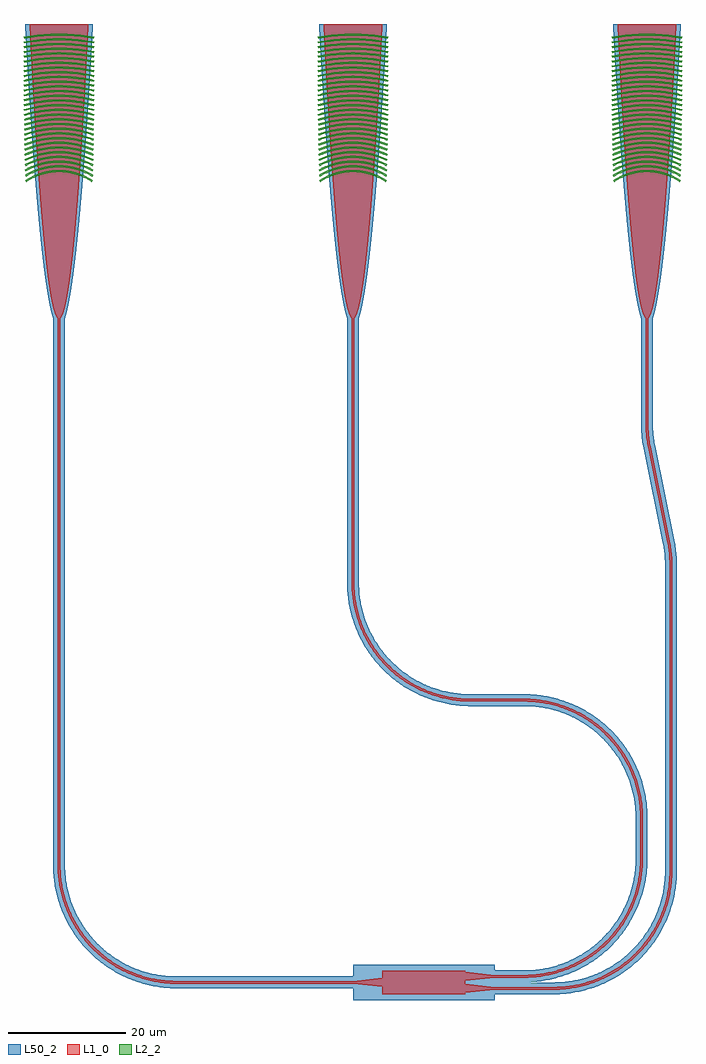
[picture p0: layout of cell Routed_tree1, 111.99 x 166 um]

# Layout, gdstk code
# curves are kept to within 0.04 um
from math import pi, radians
import gdstk
lib = gdstk.Library(unit=1e-6, precision=1e-09)
def R(c, l, rs):  # rectangles x0, y0, x1, y1
    for r in rs: c.add(gdstk.rectangle(r[:2], r[2:], *l))
def P(c, l, *ps):  # polygons
    for p in ps: c.add(gdstk.Polygon(p, *l))
L1_0 = (1, 0)
L2_2 = (2, 2)
L50_2 = (50, 2)

mmi_1x2_optimized = lib.new_cell('MMI_1X2_OPTIMIZED')
R(mmi_1x2_optimized, L1_0, [(0,-2,14.078,2)])
P(mmi_1x2_optimized, L1_0, [(-5,-0.225),(-5,0.225),(0,0.75),(0,-0.75)],
  [(14.078,0.274),(14.078,1.774),(19.078,1.249),(19.078,0.799)],
  [(14.078,-1.774),(14.078,-0.274),(19.078,-0.799),(19.078,-1.249)])
R(mmi_1x2_optimized, L50_2, [(-5,-3,19.078,3)])

sp1 = lib.new_cell('SP1')
sp1.add(gdstk.Reference(mmi_1x2_optimized, (0,0)))

fc_te_1550_grating = lib.new_cell('FC_TE_1550_grating')
P(fc_te_1550_grating, L2_2, [(1.879,5.557),(1.112,4.222),(0.612,2.949),(0.294,1.618),(0.163,0.257),(0.205,-0.94),(0.43,-2.289),(0.665,-3.112),(0.97,-3.911),(1.344,-4.68),(1.879,-5.557),(1.614,-5.736),(0.823,-4.359),(0.255,-2.876),(-0.074,-1.321),(-0.157,0.265),(-0.095,1.146),(0.043,2.018),(0.255,2.876),(0.542,3.711),(0.98,4.676),(1.614,5.736)],
  [(0.961,5.613),(0.27,4.306),(-0.18,3.095),(-0.48,1.838),(-0.634,0.369),(-0.6,-0.922),(-0.41,-2.201),(-0.18,-3.095),(0.127,-3.966),(0.508,-4.807),(0.961,-5.613),(0.688,-5.779),(-0.022,-4.436),(-0.54,-3.005),(-0.761,-2.08),(-0.879,-1.329),(-0.958,0.19),(-0.901,1.14),(-0.761,2.08),(-0.54,3.005),(-0.306,3.73),(0.138,4.781),(0.688,5.779)],
  [(0.057,5.658),(-0.627,4.236),(-1.06,2.926),(-1.331,1.573),(-1.438,0.197),(-1.357,-1.377),(-1.06,-2.926),(-0.627,-4.236),(0.057,-5.658),(-0.222,-5.814),(-0.924,-4.354),(-1.369,-3.008),(-1.674,-1.416),(-1.758,0.203),(-1.697,1.214),(-1.586,2.018),(-1.369,3.008),(-1.135,3.784),(-0.767,4.729),(-0.222,5.814)],
  [(-0.834,5.695),(-1.443,4.345),(-1.831,3.137),(-2.123,1.687),(-2.233,0.423),(-2.174,-1.267),(-1.932,-2.727),(-1.443,-4.345),(-0.834,-5.695),(-1.119,-5.842),(-1.742,-4.459),(-2.244,-2.798),(-2.493,-1.3),(-2.553,0.434),(-2.373,2.16),(-1.957,3.844),(-1.581,4.862),(-1.119,5.842)],
  [(-1.715,5.726),(-2.242,4.491),(-2.639,3.21),(-2.902,1.894),(-3.036,0.335),(-2.982,-1.228),(-2.741,-2.775),(-2.317,-4.281),(-1.715,-5.726),(-2.004,-5.865),(-2.62,-4.386),(-3.054,-2.843),(-3.301,-1.259),(-3.356,0.344),(-3.301,1.259),(-3.183,2.167),(-2.763,3.95),(-2.462,4.816),(-2.004,5.865)],
  [(-2.588,5.753),(-3.112,4.429),(-3.498,3.059),(-3.74,1.657),(-3.838,0.237),(-3.767,-1.421),(-3.548,-2.827),(-3.112,-4.429),(-2.588,-5.753),(-2.88,-5.883),(-3.491,-4.3),(-3.909,-2.654),(-4.127,-0.97),(-4.152,0.485),(-3.992,2.176),(-3.81,3.13),(-3.563,4.068),(-3.252,4.988),(-2.88,5.883)],
  [(-3.453,5.775),(-3.901,4.593),(-4.301,3.133),(-4.518,1.889),(-4.635,0.379),(-4.596,-1.135),(-4.353,-2.885),(-3.978,-4.353),(-3.453,-5.775),(-3.748,-5.899),(-4.283,-4.448),(-4.667,-2.948),(-4.893,-1.417),(-4.955,0.387),(-4.799,2.186),(-4.428,3.953),(-4.121,4.938),(-3.748,5.899)],
  [(-4.311,5.794),(-4.83,4.297),(-5.143,3.016),(-5.345,1.712),(-5.435,0.396),(-5.394,-1.187),(-5.192,-2.756),(-4.83,-4.297),(-4.311,-5.794),(-4.609,-5.912),(-5.137,-4.386),(-5.507,-2.814),(-5.713,-1.211),(-5.755,0.404),(-5.594,2.282),(-5.21,4.127),(-4.609,5.912)],
  [(-5.165,5.811),(-5.613,4.468),(-5.943,3.093),(-6.151,1.694),(-6.238,0.283),(-6.201,-1.131),(-5.994,-2.815),(-5.689,-4.196),(-5.165,-5.811),(-5.465,-5.923),(-5.998,-4.278),(-6.357,-2.586),(-6.52,-1.153),(-6.55,0.577),(-6.357,2.586),(-5.998,4.278),(-5.465,5.923)],
  [(-6.013,5.826),(-6.381,4.694),(-6.727,3.249),(-6.947,1.78),(-7.03,0.594),(-6.999,-1.188),(-6.83,-2.664),(-6.46,-4.407),(-6.013,-5.826),(-6.315,-5.932),(-6.845,-4.197),(-7.147,-2.714),(-7.318,-1.21),(-7.357,0.303),(-7.231,2.114),(-7.097,3.013),(-6.845,4.197),(-6.315,5.932)],
  [(-6.858,5.838),(-7.295,4.377),(-7.553,3.185),(-7.73,1.978),(-7.834,0.457),(-7.808,-1.067),(-7.652,-2.583),(-7.295,-4.377),(-6.858,-5.838),(-7.161,-5.941),(-7.679,-4.154),(-7.969,-2.629),(-8.128,-1.086),(-8.154,0.466),(-8.011,2.322),(-7.679,4.154),(-7.161,5.941)],
  [(-7.698,5.85),(-8.06,4.614),(-8.335,3.358),(-8.523,2.086),(-8.634,0.482),(-8.606,-1.125),(-8.44,-2.724),(-8.137,-4.302),(-7.698,-5.85),(-8.003,-5.948),(-8.448,-4.376),(-8.757,-2.77),(-8.925,-1.144),(-8.954,0.491),(-8.802,2.446),(-8.448,4.376),(-8.003,5.948)],
  [(-8.536,5.86),(-8.892,4.585),(-9.16,3.29),(-9.339,1.98),(-9.429,0.661),(-9.415,-0.991),(-9.26,-2.637),(-8.967,-4.263),(-8.536,-5.86),(-8.842,-5.954),(-9.279,-4.333),(-9.577,-2.68),(-9.734,-1.008),(-9.749,0.672),(-9.577,2.68),(-9.203,4.66),(-8.842,5.954)],
  [(-9.37,5.869),(-9.649,4.855),(-9.938,3.484),(-10.131,2.097),(-10.228,0.7),(-10.213,-1.05),(-10.092,-2.445),(-9.805,-4.172),(-9.37,-5.869),(-9.678,-5.959),(-10.042,-4.585),(-10.363,-2.837),(-10.532,-1.067),(-10.548,0.711),(-10.363,2.837),(-10.042,4.585),(-9.678,5.959)],
  [(-10.203,5.877),(-10.558,4.477),(-10.817,3.057),(-10.977,1.622),(-11.033,0.541),(-11.021,-0.902),(-10.866,-2.699),(-10.632,-4.123),(-10.203,-5.877),(-10.511,-5.964),(-10.946,-4.186),(-11.184,-2.74),(-11.322,-1.282),(-11.353,0.55),(-11.184,2.74),(-10.871,4.545),(-10.511,5.964)],
  [(-11.032,5.884),(-11.385,4.436),(-11.584,3.337),(-11.761,1.859),(-11.837,0.372),(-11.811,-1.116),(-11.685,-2.6),(-11.385,-4.436),(-11.032,-5.884),(-11.341,-5.968),(-11.698,-4.501),(-11.954,-3.012),(-12.109,-1.51),(-12.157,0.378),(-12.044,2.262),(-11.698,4.501),(-11.341,5.968)],
  [(-11.86,5.891),(-12.21,4.392),(-12.405,3.256),(-12.574,1.728),(-12.633,0.577),(-12.62,-0.961),(-12.457,-2.875),(-12.21,-4.392),(-11.86,-5.891),(-12.17,-5.971),(-12.524,-4.454),(-12.774,-2.916),(-12.939,-0.974),(-12.953,0.585),(-12.82,2.529),(-12.524,4.454),(-12.17,5.971)],
  [(-12.686,5.897),(-13.168,3.562),(-13.319,2.38),(-13.427,0.794),(-13.427,-0.794),(-13.319,-2.38),(-13.034,-4.345),(-12.686,-5.897),(-12.997,-5.974),(-13.348,-4.404),(-13.593,-2.812),(-13.729,-1.208),(-13.757,0.403),(-13.637,2.412),(-13.348,4.404),(-12.997,5.974)],
  [(-13.51,5.902),(-13.989,3.482),(-14.135,2.258),(-14.232,0.617),(-14.218,-1.027),(-14.093,-2.667),(-13.857,-4.294),(-13.51,-5.902),(-13.822,-5.977),(-14.172,-4.35),(-14.411,-2.702),(-14.538,-1.041),(-14.552,0.625),(-14.411,2.702),(-14.094,4.76),(-13.822,5.977)],
  [(-14.333,5.907),(-14.603,4.657),(-14.809,3.396),(-14.95,2.127),(-15.026,0.852),(-15.026,-0.852),(-14.91,-2.551),(-14.679,-4.238),(-14.333,-5.907),(-14.645,-5.98),(-14.994,-4.292),(-15.228,-2.583),(-15.345,-0.862),(-15.345,0.862),(-15.181,3.012),(-14.834,5.14),(-14.645,5.98)],
  [(-15.155,5.912),(-15.425,4.613),(-15.628,3.304),(-15.764,1.986),(-15.832,0.662),(-15.816,-1.104),(-15.681,-2.865),(-15.425,-4.613),(-15.155,-5.912),(-15.467,-5.982),(-15.816,-4.23),(-15.999,-2.901),(-16.136,-1.118),(-16.151,0.671),(-15.999,2.901),(-15.74,4.67),(-15.467,5.982)],
  [(-15.975,5.916),(-16.388,3.659),(-16.541,2.291),(-16.624,0.917),(-16.624,-0.917),(-16.498,-2.748),(-16.321,-4.113),(-15.975,-5.916),(-16.287,-5.984),(-16.637,-4.162),(-16.86,-2.319),(-16.944,-0.928),(-16.944,0.928),(-16.816,2.781),(-16.478,5.077),(-16.287,5.984)],
  [(-16.794,5.92),(-17.207,3.569),(-17.356,2.145),(-17.431,0.716),(-17.431,-0.716),(-17.315,-2.621),(-17.141,-4.042),(-16.794,-5.92),(-17.107,-5.986),(-17.382,-4.566),(-17.633,-2.651),(-17.751,-0.724),(-17.751,0.724),(-17.583,3.131),(-17.298,5.041),(-17.107,5.986)],
  [(-17.612,5.923),(-17.877,4.515),(-18.07,3.096),(-18.231,0.716),(-18.215,-1.193),(-18.118,-2.621),(-17.877,-4.515),(-17.612,-5.923),(-17.925,-5.988),(-18.193,-4.566),(-18.437,-2.651),(-18.535,-1.206),(-18.551,0.724),(-18.437,2.651),(-18.111,5.042),(-17.925,5.988)],
  [(-18.429,5.927),(-18.832,3.472),(-19.023,0.994),(-19.036,-0.497),(-18.934,-2.483),(-18.696,-4.458),(-18.429,-5.927),(-18.743,-5.989),(-19.085,-4.009),(-19.252,-2.511),(-19.356,-0.503),(-19.343,1.005),(-19.205,3.011),(-18.841,5.497),(-18.743,5.989)],
  [(-19.245,5.93),(-19.65,3.366),(-19.83,0.778),(-19.812,-1.297),(-19.704,-2.85),(-19.515,-4.395),(-19.245,-5.93),(-19.559,-5.991),(-19.904,-3.923),(-20.068,-2.358),(-20.15,-0.787),(-20.15,0.787),(-19.968,3.402),(-19.659,5.477),(-19.559,5.991)],
  [(-20.06,5.932),(-20.454,3.367),(-20.63,0.778),(-20.613,-1.297),(-20.507,-2.851),(-20.323,-4.397),(-20.06,-5.932),(-20.375,-5.992),(-20.64,-4.442),(-20.826,-2.88),(-20.95,-0.787),(-20.95,0.787),(-20.773,3.402),(-20.472,5.478),(-20.375,5.992)],
  [(-20.875,5.935),(-21.272,3.25),(-21.421,1.085),(-21.435,-0.543),(-21.323,-2.71),(-21.141,-4.328),(-20.875,-5.935),(-21.189,-5.993),(-21.458,-4.372),(-21.642,-2.738),(-21.741,-1.096),(-21.741,1.096),(-21.59,3.283),(-21.288,5.455),(-21.189,5.993)],
  [(-21.689,5.938),(-22.076,3.251),(-22.222,1.085),(-22.222,-1.085),(-22.126,-2.711),(-21.948,-4.329),(-21.689,-5.938),(-22.004,-5.994),(-22.265,-4.372),(-22.445,-2.738),(-22.542,-1.096),(-22.542,1.096),(-22.394,3.283),(-22.1,5.456),(-22.004,5.994)],
  [(-22.502,5.94),(-22.892,3.123),(-23.029,0.853),(-23.029,-0.853),(-22.941,-2.556),(-22.765,-4.253),(-22.502,-5.94),(-22.817,-5.995),(-23.082,-4.294),(-23.26,-2.581),(-23.349,-0.861),(-23.349,0.861),(-23.211,3.153),(-22.915,5.43),(-22.817,5.995)])

fc_te_1550_socket = lib.new_cell('FC_TE_1550_socket')
P(fc_te_1550_socket, L1_0, [(25,0.225),(25,-0.225),(24.705,-0.445),(23.929,-0.765),(22.786,-1.075),(19.069,-1.735),(13.702,-2.385),(6.642,-3.035),(-2.112,-3.685),(-12.733,-4.345),(-25,-5),(-25,5),(-13.785,4.405),(-3.913,3.805),(4.516,3.205),(11.502,2.605),(16.965,2.015),(21.089,1.415),(22.699,1.095),(23.803,0.805),(24.57,0.515)])
P(fc_te_1550_socket, L50_2, [(25,1),(25,-1),(23.729,-1.35),(22.079,-1.7),(17.791,-2.38),(10.221,-3.25),(0.565,-4.1),(-11.019,-4.93),(-25,-5.775),(-25,5.775),(-5.733,4.57),(1.817,4),(8.784,3.39),(14.515,2.79),(19.133,2.19),(22.589,1.6)])

fc_te_1550 = lib.new_cell('FC_TE_1550')
fc_te_1550.add(gdstk.Reference(fc_te_1550_grating, (0,0)))
fc_te_1550.add(gdstk.Reference(fc_te_1550_socket, (0,0)))

routed_tree1_connector0 = lib.new_cell('Routed_tree1_connector0')
P(routed_tree1_connector0, L1_0, [(-55.225,113),(-55.222,19.651),(-55.078,17.562),(-54.793,15.841),(-54.257,13.817),(-53.514,11.859),(-52.398,9.687),(-51.028,7.665),(-49.667,6.074),(-47.881,4.407),(-46.2,3.159),(-44.089,1.932),(-42.172,1.089),(-39.84,0.363),(-37.438,-0.078),(-35.349,-0.222),(-5,-0.225),(-5,0.225),(-35.683,0.237),(-37.722,0.413),(-40.063,0.884),(-42.012,1.51),(-44.19,2.49),(-45.951,3.534),(-47.856,4.974),(-49.573,6.633),(-50.877,8.211),(-52.011,9.916),(-53.102,12.04),(-53.828,13.954),(-54.352,15.933),(-54.631,17.616),(-54.772,19.659),(-54.775,113)])
P(routed_tree1_connector0, L50_2, [(-56,113),(-55.997,19.638),(-55.847,17.469),(-55.474,15.327),(-54.881,13.235),(-54.224,11.547),(-53.065,9.291),(-51.861,7.481),(-50.229,5.54),(-48.375,3.81),(-46.326,2.316),(-44.437,1.24),(-42.107,0.239),(-40.026,-0.39),(-37.531,-0.847),(-35.362,-0.997),(-5,-1),(-5,1),(-35.328,1.003),(-36.638,1.071),(-37.94,1.229),(-40.181,1.72),(-42.347,2.478),(-44.119,3.331),(-45.793,4.363),(-47.599,5.778),(-49.002,7.157),(-50.255,8.674),(-51.344,10.311),(-52.393,12.352),(-53.09,14.191),(-53.524,15.772),(-53.861,17.71),(-53.997,19.672),(-54,113)])

routed_tree1_connector1 = lib.new_cell('Routed_tree1_connector1')
P(routed_tree1_connector1, L1_0, [(-5.225,113),(-5.198,66.953),(-5.078,65.562),(-4.862,64.183),(-4.257,61.817),(-3.371,59.541),(-2.217,57.388),(-1.238,55.943),(-0.139,54.588),(1.074,53.333),(2.39,52.187),(3.8,51.159),(5.293,50.257),(6.859,49.486),(8.485,48.853),(9.822,48.449),(11.183,48.138),(13.605,47.823),(14.999,47.775),(24.419,47.772),(26.8,47.587),(28.478,47.279),(30.124,46.828),(31.724,46.237),(33.268,45.51),(35.029,44.466),(36.673,43.246),(37.94,42.103),(39.324,40.595),(40.544,38.951),(41.427,37.491),(42.315,35.646),(42.906,34.046),(43.498,31.732),(43.709,30.384),(43.826,29.024),(43.85,20.679),(43.706,18.614),(43.266,16.24),(42.54,13.937),(42,12.667),(41.374,11.437),(40.076,9.401),(39.227,8.313),(38.303,7.287),(37.31,6.328),(36.253,5.441),(34.848,4.439),(33.665,3.728),(32.435,3.102),(31.165,2.562),(28.862,1.836),(27.512,1.549),(26.145,1.357),(24.423,1.252),(19.078,1.249),(19.078,0.799),(25.136,0.827),(27.59,1.106),(28.971,1.4),(30.328,1.789),(32.625,2.694),(34.495,3.688),(36.25,4.872),(37.871,6.232),(39.342,7.755),(40.845,9.714),(41.936,11.529),(42.83,13.448),(43.419,15.111),(43.861,16.819),(44.152,18.559),(44.3,20.671),(44.303,28.001),(44.255,29.395),(43.94,31.817),(43.335,34.183),(42.73,35.82),(41.821,37.707),(40.919,39.2),(39.671,40.881),(38.255,42.424),(36.688,43.813),(35.278,44.841),(33.477,45.908),(31.898,46.652),(30.261,47.257),(28.578,47.718),(26.862,48.032),(24.427,48.222),(15.001,48.225),(13.636,48.272),(11.268,48.58),(9.937,48.884),(8.63,49.279),(7.04,49.898),(5.509,50.651),(4.049,51.534),(2.67,52.539),(1.384,53.66),(0.198,54.887),(-0.877,56.211),(-1.834,57.624),(-2.962,59.729),(-3.828,61.954),(-4.42,64.268),(-4.728,66.636),(-4.775,68.001),(-4.775,113)])
P(routed_tree1_connector1, L50_2, [(-6,113),(-5.972,66.913),(-5.847,65.469),(-5.623,64.037),(-4.995,61.58),(-4.075,59.216),(-2.877,56.981),(-1.861,55.481),(-0.719,54.074),(0.54,52.771),(1.907,51.582),(3.371,50.514),(4.921,49.577),(6.547,48.776),(8.235,48.119),(9.623,47.7),(11.037,47.377),(13.551,47.05),(14.996,47),(24.406,46.997),(26.693,46.819),(28.306,46.524),(29.887,46.09),(31.425,45.522),(32.908,44.824),(34.6,43.821),(35.924,42.855),(37.161,41.778),(38.515,40.352),(39.715,38.793),(40.747,37.119),(41.471,35.648),(42.168,33.809),(42.526,32.547),(42.796,31.263),(43.052,28.983),(43.078,21.028),(42.974,19.038),(42.789,17.725),(42.514,16.427),(41.816,14.215),(41.298,12.994),(40.696,11.813),(39.449,9.856),(38.633,8.811),(37.745,7.826),(36.791,6.904),(35.776,6.052),(34.703,5.272),(33.289,4.406),(32.108,3.804),(30.887,3.286),(28.675,2.588),(27.377,2.313),(26.064,2.128),(24.41,2.027),(19.078,2.024),(19.078,0.024),(24.445,0.027),(25.908,0.104),(28.444,0.483),(30.567,1.052),(32.953,1.992),(34.894,3.023),(36.716,4.253),(38.4,5.666),(40.165,7.525),(41.488,9.281),(42.62,11.165),(43.549,13.157),(44.16,14.884),(44.619,16.658),(44.922,18.465),(45.075,20.657),(45.078,28.004),(45.028,29.449),(44.701,31.963),(44.073,34.42),(43.302,36.453),(42.501,38.079),(41.361,39.929),(40.268,41.375),(39.055,42.721),(37.453,44.19),(35.707,45.486),(33.837,46.595),(32.198,47.367),(30.498,47.995),(28.751,48.474),(26.969,48.8),(24.44,48.997),(13.689,49.045),(11.414,49.342),(9.191,49.91),(7.653,50.478),(6.17,51.176),(4.753,52),(3.412,52.943),(2.157,53.998),(0.998,55.157),(-0.057,56.412),(-1,57.753),(-2.118,59.756),(-2.987,61.88),(-3.594,64.092),(-3.929,66.362),(-4,68.004),(-4,113)])

routed_tree1_connector2_ = lib.new_cell('Routed_tree1_connector2_segment_0')
P(routed_tree1_connector2_, L1_0, [(44.775,113),(44.775,95.017),(44.82,93.663),(45.118,91.31),(48.454,74.934),(48.717,73.297),(48.853,70.981),(48.853,53),(49.303,53),(49.303,70.983),(49.258,72.337),(48.96,74.69),(45.624,91.066),(45.361,92.703),(45.225,95.019),(45.225,113)])
P(routed_tree1_connector2_, L50_2, [(44,113),(44,95.014),(44.047,93.611),(44.356,91.168),(47.694,74.782),(47.982,72.889),(48.078,70.978),(48.078,53),(50.078,53),(50.078,70.986),(50.031,72.389),(49.722,74.832),(46.384,91.218),(46.096,93.111),(46,95.022),(46,113)])

c_routed_tree1_connector2_ = lib.new_cell('Routed_tree1_connector2_segment_1')
P(c_routed_tree1_connector2_, L1_0, [(48.853,53),(48.826,17.941),(48.553,15.542),(48.087,13.525),(47.281,11.249),(46.374,9.389),(45.472,7.918),(44.446,6.531),(43.303,5.239),(42.052,4.052),(40.701,2.978),(39.263,2.026),(37.747,1.202),(36.165,0.514),(33.862,-0.212),(32.512,-0.499),(31.145,-0.691),(29.423,-0.796),(19.078,-0.799),(19.078,-1.249),(29.079,-1.249),(30.489,-1.2),(32.242,-1),(33.628,-0.731),(34.991,-0.365),(36.326,0.094),(37.944,0.798),(39.495,1.64),(40.966,2.614),(42.347,3.712),(43.627,4.927),(44.796,6.248),(45.845,7.666),(46.767,9.171),(47.695,11.073),(48.52,13.401),(48.996,15.464),(49.275,17.918),(49.303,53)])
P(c_routed_tree1_connector2_, L50_2, [(48.078,53),(48.052,17.982),(47.844,16.004),(47.431,14.058),(46.816,12.167),(45.854,10.056),(45.013,8.628),(44.05,7.278),(42.974,6.018),(42.036,5.08),(41.035,4.21),(39.703,3.224),(38.289,2.358),(36.806,1.619),(35.264,1.011),(33.996,0.623),(32.377,0.265),(30.734,0.048),(29.074,-0.024),(19.078,-0.024),(19.078,-2.024),(29.082,-2.024),(30.908,-1.944),(32.363,-1.765),(33.802,-1.486),(35.218,-1.106),(36.604,-0.629),(38.284,0.101),(39.894,0.975),(41.422,1.987),(43.13,3.37),(44.436,4.654),(45.626,6.047),(46.69,7.539),(47.62,9.117),(48.683,11.45),(49.454,13.896),(49.922,16.417),(50.075,18.609),(50.078,53)])

routed_tree1_connector2 = lib.new_cell('Routed_tree1_connector2')
routed_tree1_connector2.add(gdstk.Reference(routed_tree1_connector2_, (0,0)))
routed_tree1_connector2.add(gdstk.Reference(c_routed_tree1_connector2_, (0,0)))

routed_tree1 = lib.new_cell('Routed_tree1')
routed_tree1.add(gdstk.Reference(sp1, (0,0)))
routed_tree1.add(gdstk.Reference(fc_te_1550, (45,138), rotation=3*pi/2))
routed_tree1.add(gdstk.Reference(fc_te_1550, (-55,138), rotation=3*pi/2))
routed_tree1.add(gdstk.Reference(fc_te_1550, (-5,138), rotation=3*pi/2))
routed_tree1.add(gdstk.Reference(routed_tree1_connector0, (0,0)))
routed_tree1.add(gdstk.Reference(routed_tree1_connector1, (0,0)))
routed_tree1.add(gdstk.Reference(routed_tree1_connector2, (0,0)))

lib.write_gds('Routed_tree1.gds')
